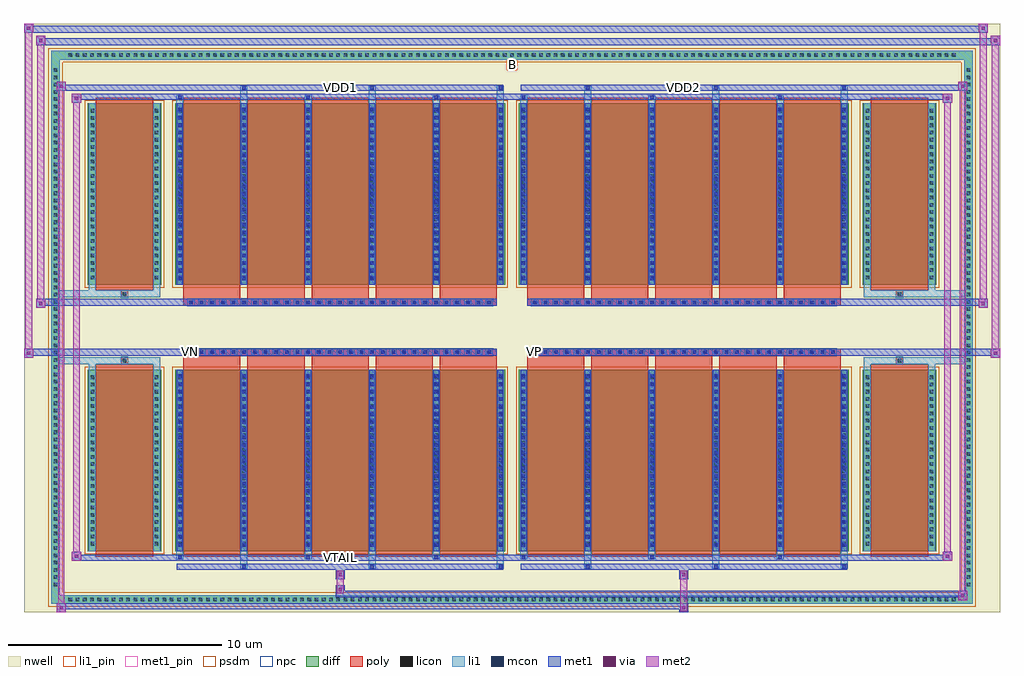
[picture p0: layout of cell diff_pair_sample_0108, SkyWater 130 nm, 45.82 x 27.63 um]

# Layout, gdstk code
import gdstk
lib = gdstk.Library(unit=1e-6, precision=5e-09)
def R(c, l, rs):  # rectangles x0, y0, x1, y1
    for r in rs: c.add(gdstk.rectangle(r[:2], r[2:], *l))
def A(c, l, x, y, w, h, nx, ny, dx, dy):  # array of equal rectangles
    R(c, l, [(x+i*dx, y+j*dy, x+i*dx+w, y+j*dy+h) for i in range(nx) for j in range(ny)])
def P(c, l, *ps):  # polygons
    for p in ps: c.add(gdstk.Polygon(p, *l))
nwell = (64, 20)
diff = (65, 20)
poly = (66, 20)
licon = (66, 44)
li1_pin = (67, 16)
li1 = (67, 20)
mcon = (67, 44)
met1_pin = (68, 16)
met1 = (68, 20)
via = (68, 44)
met2 = (69, 20)
psdm = (94, 20)
npc = (95, 20)

diff_pair_sample_0108 = lib.new_cell('diff_pair_sample_0108')
R(diff_pair_sample_0108, nwell, [(-22.91,-13.38,22.91,14.25), (-20.23,-11.57,-0.01,-0.805), (0.01,-11.57,20.23,-0.805), (-20.23,0.805,-0.01,11.57), (0.01,0.805,20.23,11.57)])
A(diff_pair_sample_0108, diff, -20.945, -12.98, 0.41, 0.41, 123, 2, 0.34, 25.55)
A(diff_pair_sample_0108, diff, -21.64, -12.275, 0.41, 0.41, 1, 72, 0, 0.34)
A(diff_pair_sample_0108, diff, 21.23, -12.275, 0.41, 0.41, 1, 72, 0, 0.34)
R(diff_pair_sample_0108, diff, [(-20.945,-12.98,20.945,-12.57), (-21.64,-12.275,-21.23,12.275), (21.23,-12.275,21.64,12.275), (-19.92,-10.525,-16.46,-1.985), (-15.82,-10.525,-0.32,-1.985), (0.32,-10.525,15.82,-1.985), (16.46,-10.525,19.92,-1.985), (-19.92,1.985,-16.46,10.525), (-15.82,1.985,-0.32,10.525), (0.32,1.985,15.82,10.525), (16.46,1.985,19.92,10.525), (-20.945,12.57,20.945,12.98)])
P(diff_pair_sample_0108, diff, [(21.64,12.98),(-21.64,12.98),(-21.64,-12.57),(-21.23,-12.57),(-21.23,12.57),(21.23,12.57),(21.23,-12.57),(-21.23,-12.57),(-21.64,-12.57),(-21.64,-12.98),(21.64,-12.98)])
A(diff_pair_sample_0108, poly, -15.43, -10.775, 2.68, 9.04, 5, 2, 3.01, 12.51)
A(diff_pair_sample_0108, poly, 0.71, -10.775, 2.68, 9.04, 5, 2, 3.01, 12.51)
A(diff_pair_sample_0108, poly, -15.43, -1.735, 2.68, 0.4, 5, 2, 3.01, 3.07)
A(diff_pair_sample_0108, poly, 0.71, -1.735, 2.68, 0.4, 5, 2, 3.01, 3.07)
A(diff_pair_sample_0108, poly, -15.235, -1.335, 0.33, 0.33, 29, 2, 0.5, 2.34)
A(diff_pair_sample_0108, poly, 0.905, -1.335, 0.33, 0.33, 29, 2, 0.5, 2.34)
R(diff_pair_sample_0108, poly, [(-19.53,-10.775,-16.85,-1.735), (16.85,-10.775,19.53,-1.735), (-18.355,-1.735,-18.025,-1.405), (-18.355,-1.735,-18.025,-1.405), (18.025,-1.735,18.355,-1.405), (18.025,-1.735,18.355,-1.405), (-15.43,-1.335,-0.71,-1.005), (0.71,-1.335,15.43,-1.005), (-15.43,1.005,-0.71,1.335), (0.71,1.005,15.43,1.335), (-18.355,1.405,-18.025,1.735), (-18.355,1.405,-18.025,1.735), (18.025,1.405,18.355,1.735), (18.025,1.405,18.355,1.735), (-19.53,1.735,-16.85,10.775), (16.85,1.735,19.53,10.775)])
A(diff_pair_sample_0108, licon, -20.825, -12.86, 0.17, 0.17, 123, 2, 0.34, 25.55)
A(diff_pair_sample_0108, licon, -21.52, -12.155, 0.17, 0.17, 1, 72, 0, 0.34)
A(diff_pair_sample_0108, licon, 21.35, -12.155, 0.17, 0.17, 1, 72, 0, 0.34)
A(diff_pair_sample_0108, licon, -19.78, -10.25, 0.17, 0.17, 1, 24, 0, 0.34)
A(diff_pair_sample_0108, licon, -16.77, -10.25, 0.17, 0.17, 1, 24, 0, 0.34)
A(diff_pair_sample_0108, licon, -15.68, -10.25, 0.17, 0.17, 6, 24, 3.01, 0.34)
A(diff_pair_sample_0108, licon, 0.46, -10.25, 0.17, 0.17, 6, 24, 3.01, 0.34)
A(diff_pair_sample_0108, licon, 16.6, -10.25, 0.17, 0.17, 1, 24, 0, 0.34)
A(diff_pair_sample_0108, licon, 19.61, -10.25, 0.17, 0.17, 1, 24, 0, 0.34)
A(diff_pair_sample_0108, licon, -15.155, -1.255, 0.17, 0.17, 29, 2, 0.5, 2.34)
A(diff_pair_sample_0108, licon, 0.985, -1.255, 0.17, 0.17, 29, 2, 0.5, 2.34)
A(diff_pair_sample_0108, licon, -19.78, 2.26, 0.17, 0.17, 1, 24, 0, 0.34)
A(diff_pair_sample_0108, licon, -16.77, 2.26, 0.17, 0.17, 1, 24, 0, 0.34)
A(diff_pair_sample_0108, licon, -15.68, 2.26, 0.17, 0.17, 6, 24, 3.01, 0.34)
A(diff_pair_sample_0108, licon, 0.46, 2.26, 0.17, 0.17, 6, 24, 3.01, 0.34)
A(diff_pair_sample_0108, licon, 16.6, 2.26, 0.17, 0.17, 1, 24, 0, 0.34)
A(diff_pair_sample_0108, licon, 19.61, 2.26, 0.17, 0.17, 1, 24, 0, 0.34)
R(diff_pair_sample_0108, licon, [(-18.275,-1.655,-18.105,-1.485), (18.105,-1.655,18.275,-1.485), (-18.275,1.485,-18.105,1.655), (18.105,1.485,18.275,1.655)])
R(diff_pair_sample_0108, li1_pin, [(-0.25,12.07,0.25,12.57)])
A(diff_pair_sample_0108, li1, -20.905, -12.94, 0.33, 0.33, 123, 2, 0.34, 25.55)
A(diff_pair_sample_0108, li1, -21.6, -12.235, 0.33, 0.33, 1, 72, 0, 0.34)
A(diff_pair_sample_0108, li1, 21.27, -12.235, 0.33, 0.33, 1, 72, 0, 0.34)
A(diff_pair_sample_0108, li1, -12.75, -11.33, 0.33, 0.805, 3, 2, 6.02, 21.855)
A(diff_pair_sample_0108, li1, -12.67, -11.33, 0.17, 0.17, 3, 2, 6.02, 22.49)
A(diff_pair_sample_0108, li1, 3.39, -11.33, 0.33, 0.805, 3, 2, 6.02, 21.855)
A(diff_pair_sample_0108, li1, 3.47, -11.33, 0.17, 0.17, 3, 2, 6.02, 22.49)
A(diff_pair_sample_0108, li1, -15.76, -10.9, 0.33, 0.375, 3, 2, 6.02, 21.425)
A(diff_pair_sample_0108, li1, -15.68, -10.9, 0.17, 0.17, 3, 2, 6.02, 21.63)
A(diff_pair_sample_0108, li1, 0.38, -10.9, 0.33, 0.375, 3, 2, 6.02, 21.425)
A(diff_pair_sample_0108, li1, 0.46, -10.9, 0.17, 0.17, 3, 2, 6.02, 21.63)
A(diff_pair_sample_0108, li1, -15.76, -10.525, 0.33, 8.54, 6, 2, 3.01, 12.51)
A(diff_pair_sample_0108, li1, 0.38, -10.525, 0.33, 8.54, 6, 2, 3.01, 12.51)
A(diff_pair_sample_0108, li1, -19.86, -10.33, 0.33, 0.33, 1, 24, 0, 0.34)
A(diff_pair_sample_0108, li1, -16.85, -10.33, 0.33, 0.33, 1, 24, 0, 0.34)
A(diff_pair_sample_0108, li1, -15.76, -10.33, 0.33, 0.33, 6, 24, 3.01, 0.34)
A(diff_pair_sample_0108, li1, 0.38, -10.33, 0.33, 0.33, 6, 24, 3.01, 0.34)
A(diff_pair_sample_0108, li1, 16.52, -10.33, 0.33, 0.33, 1, 24, 0, 0.34)
A(diff_pair_sample_0108, li1, 19.53, -10.33, 0.33, 0.33, 1, 24, 0, 0.34)
A(diff_pair_sample_0108, li1, -15.68, -10.3, 0.17, 0.17, 6, 23, 3.01, 0.36)
A(diff_pair_sample_0108, li1, -15.68, -10.3, 0.17, 8.09, 6, 2, 3.01, 12.51)
A(diff_pair_sample_0108, li1, 0.46, -10.3, 0.17, 0.17, 6, 23, 3.01, 0.36)
A(diff_pair_sample_0108, li1, 0.46, -10.3, 0.17, 8.09, 6, 2, 3.01, 12.51)
A(diff_pair_sample_0108, li1, -15.235, -1.335, 0.33, 0.33, 29, 2, 0.5, 2.34)
A(diff_pair_sample_0108, li1, 0.905, -1.335, 0.33, 0.33, 29, 2, 0.5, 2.34)
A(diff_pair_sample_0108, li1, -19.86, 2.18, 0.33, 0.33, 1, 24, 0, 0.34)
A(diff_pair_sample_0108, li1, -16.85, 2.18, 0.33, 0.33, 1, 24, 0, 0.34)
A(diff_pair_sample_0108, li1, -15.76, 2.18, 0.33, 0.33, 6, 24, 3.01, 0.34)
A(diff_pair_sample_0108, li1, 0.38, 2.18, 0.33, 0.33, 6, 24, 3.01, 0.34)
A(diff_pair_sample_0108, li1, 16.52, 2.18, 0.33, 0.33, 1, 24, 0, 0.34)
A(diff_pair_sample_0108, li1, 19.53, 2.18, 0.33, 0.33, 1, 24, 0, 0.34)
A(diff_pair_sample_0108, li1, -15.68, 2.21, 0.17, 0.17, 6, 23, 3.01, 0.36)
A(diff_pair_sample_0108, li1, 0.46, 2.21, 0.17, 0.17, 6, 23, 3.01, 0.36)
R(diff_pair_sample_0108, li1, [(-21.64,-12.98,-21.23,-12.57), (-21.64,-12.98,-21.23,-12.57), (-21.23,-12.98,21.23,-12.57), (21.23,-12.98,21.64,-12.57), (21.23,-12.98,21.64,-12.57), (-21.64,-12.57,-21.23,12.57), (21.23,-12.57,21.64,12.57), (-19.86,-10.525,-19.53,-1.985), (-16.85,-10.525,-16.52,-1.985), (16.52,-10.525,16.85,-1.985), (19.53,-10.525,19.86,-1.985), (-19.86,-1.985,-19.53,-1.405), (-16.85,-1.985,-16.52,-1.405), (16.52,-1.985,16.85,-1.405), (19.53,-1.985,19.86,-1.405), (-21.64,-1.735,-18.355,-1.405), (-19.86,-1.735,-18.355,-1.405), (-18.355,-1.735,-18.025,-1.405), (-18.025,-1.735,-16.52,-1.405), (16.52,-1.735,18.025,-1.405), (18.025,-1.735,18.355,-1.405), (18.025,-1.735,21.64,-1.405), (18.355,-1.735,19.86,-1.405), (-21.64,1.405,-18.355,1.735), (-19.86,1.405,-18.355,1.735), (-19.86,1.405,-19.53,1.985), (-18.355,1.405,-18.025,1.735), (-18.025,1.405,-16.52,1.735), (-16.85,1.405,-16.52,1.985), (16.52,1.405,18.025,1.735), (16.52,1.405,16.85,1.985), (18.025,1.405,18.355,1.735), (18.025,1.405,21.64,1.735), (18.355,1.405,19.86,1.735), (19.53,1.405,19.86,1.985), (-19.86,1.985,-19.53,10.525), (-16.85,1.985,-16.52,10.525), (16.52,1.985,16.85,10.525), (19.53,1.985,19.86,10.525), (-21.64,12.57,-21.23,12.98), (-21.64,12.57,-21.23,12.98), (-21.23,12.57,21.23,12.98), (21.23,12.57,21.64,12.98), (21.23,12.57,21.64,12.98)])
A(diff_pair_sample_0108, mcon, -12.67, -11.33, 0.17, 0.17, 3, 2, 6.02, 22.49)
A(diff_pair_sample_0108, mcon, 3.47, -11.33, 0.17, 0.17, 3, 2, 6.02, 22.49)
A(diff_pair_sample_0108, mcon, -15.68, -10.9, 0.17, 0.17, 3, 2, 6.02, 21.63)
A(diff_pair_sample_0108, mcon, 0.46, -10.9, 0.17, 0.17, 3, 2, 6.02, 21.63)
A(diff_pair_sample_0108, mcon, -15.68, -10.3, 0.17, 0.17, 6, 23, 3.01, 0.36)
A(diff_pair_sample_0108, mcon, 0.46, -10.3, 0.17, 0.17, 6, 23, 3.01, 0.36)
A(diff_pair_sample_0108, mcon, -15.155, -1.255, 0.17, 0.17, 29, 2, 0.5, 2.34)
A(diff_pair_sample_0108, mcon, 0.985, -1.255, 0.17, 0.17, 29, 2, 0.5, 2.34)
A(diff_pair_sample_0108, mcon, -15.68, 2.21, 0.17, 0.17, 6, 23, 3.01, 0.36)
A(diff_pair_sample_0108, mcon, 0.46, 2.21, 0.17, 0.17, 6, 23, 3.01, 0.36)
R(diff_pair_sample_0108, met1_pin, [(-8.205,-10.94,-7.935,-10.67), (-15.205,-1.295,-14.935,-1.025), (0.935,-1.295,1.205,-1.025), (-8.205,11.12,-7.935,11.39), (7.935,11.12,8.205,11.39)])
A(diff_pair_sample_0108, met1, -12.73, -11.39, 0.29, 0.29, 3, 2, 6.02, 22.49)
A(diff_pair_sample_0108, met1, 3.41, -11.39, 0.29, 0.29, 3, 2, 6.02, 22.49)
A(diff_pair_sample_0108, met1, -15.74, -10.96, 0.29, 0.29, 3, 2, 6.02, 21.63)
A(diff_pair_sample_0108, met1, 0.4, -10.96, 0.29, 0.29, 3, 2, 6.02, 21.63)
A(diff_pair_sample_0108, met1, -15.74, -10.525, 0.29, 8.54, 6, 2, 3.01, 12.51)
A(diff_pair_sample_0108, met1, 0.4, -10.525, 0.29, 8.54, 6, 2, 3.01, 12.51)
A(diff_pair_sample_0108, met1, -15.74, -10.36, 0.29, 0.29, 6, 23, 3.01, 0.36)
A(diff_pair_sample_0108, met1, 0.4, -10.36, 0.29, 0.29, 6, 23, 3.01, 0.36)
A(diff_pair_sample_0108, met1, -15.215, -1.315, 0.29, 0.29, 29, 2, 0.5, 2.34)
A(diff_pair_sample_0108, met1, 0.925, -1.315, 0.29, 0.29, 29, 2, 0.5, 2.34)
A(diff_pair_sample_0108, met1, -15.74, 2.15, 0.29, 0.29, 6, 23, 3.01, 0.36)
A(diff_pair_sample_0108, met1, 0.4, 2.15, 0.29, 0.29, 6, 23, 3.01, 0.36)
R(diff_pair_sample_0108, met1, [(-21.37,-13.38,-20.94,-12.95), (7.855,-13.38,8.285,-12.95), (-21.37,-13.24,8.285,-12.95), (20.94,-12.81,21.37,-12.38), (-8.285,-12.67,21.37,-12.38), (-8.285,-12.53,-7.855,-12.1), (-8.285,-11.82,-7.855,-11.39), (7.855,-11.82,8.285,-11.39), (-15.74,-11.39,-0.4,-11.1), (0.4,-11.39,15.74,-11.1), (-20.66,-10.96,-20.23,-10.53), (-20.66,-10.96,-15.74,-10.67), (-15.74,-10.96,-0.4,-10.67), (-0.4,-10.96,0.4,-10.67), (0.4,-10.96,15.74,-10.67), (15.74,-10.96,20.66,-10.67), (20.23,-10.96,20.66,-10.53), (-22.91,-1.435,-22.48,-1.005), (22.48,-1.435,22.91,-1.005), (-22.91,-1.335,-0.71,-1.005), (-15.43,-1.335,-0.71,-1.005), (0.71,-1.335,15.43,-1.005), (0.71,-1.335,22.91,-1.005), (-22.34,0.905,-21.91,1.335), (21.91,0.905,22.34,1.335), (-22.34,1.005,-15.43,1.335), (-15.43,1.005,-0.71,1.335), (0.71,1.005,15.43,1.335), (15.43,1.005,22.34,1.335), (-20.66,10.53,-20.23,10.96), (20.23,10.53,20.66,10.96), (-20.66,10.67,-15.74,10.96), (-15.74,10.67,-0.4,10.96), (-0.4,10.67,0.4,10.96), (0.4,10.67,15.74,10.96), (15.74,10.67,20.66,10.96), (-21.37,11.1,-20.94,11.53), (-21.37,11.1,-15.74,11.39), (-15.74,11.1,-0.4,11.39), (0.4,11.1,15.74,11.39), (15.74,11.1,21.37,11.39), (20.94,11.1,21.37,11.53), (-22.34,13.25,-21.91,13.68), (-22.34,13.25,-20.23,13.58), (-20.23,13.25,20.23,13.58), (20.23,13.25,22.91,13.58), (22.48,13.25,22.91,13.68), (-22.91,13.82,-22.48,14.25), (-22.91,13.82,-20.23,14.15), (-20.23,13.82,20.23,14.15), (20.23,13.82,22.34,14.15), (21.91,13.82,22.34,14.25)])
R(diff_pair_sample_0108, via, [(-21.23,-13.24,-21.08,-13.09), (7.995,-13.24,8.145,-13.09), (21.08,-12.67,21.23,-12.52), (-8.145,-12.39,-7.995,-12.24), (-8.145,-11.68,-7.995,-11.53), (7.995,-11.68,8.145,-11.53), (-20.52,-10.82,-20.37,-10.67), (20.37,-10.82,20.52,-10.67), (-22.77,-1.295,-22.62,-1.145), (22.62,-1.295,22.77,-1.145), (-22.2,1.045,-22.05,1.195), (22.05,1.045,22.2,1.195), (-20.52,10.67,-20.37,10.82), (20.37,10.67,20.52,10.82), (-21.23,11.24,-21.08,11.39), (21.08,11.24,21.23,11.39), (-22.2,13.39,-22.05,13.54), (22.62,13.39,22.77,13.54), (-22.77,13.96,-22.62,14.11), (22.05,13.96,22.2,14.11)])
R(diff_pair_sample_0108, met2, [(-21.37,-13.38,-20.94,-12.95), (-21.3,-13.38,-21.01,11.53), (-21.01,-13.38,-20.94,-12.95), (-21.32,-13.33,-20.99,-13), (7.905,-13.33,8.235,-13), (7.905,-13,8.235,-11.77), (20.94,-12.81,21.37,-12.38), (21.01,-12.81,21.3,11.53), (21.3,-12.81,21.37,-12.38), (20.99,-12.76,21.32,-12.43), (-8.235,-12.48,-7.905,-12.15), (-8.235,-12.15,-7.905,-11.77), (-8.235,-11.77,-7.905,-11.44), (7.905,-11.77,8.235,-11.44), (-20.66,-10.96,-20.23,-10.53), (-20.59,-10.96,-20.3,10.96), (-20.3,-10.96,-20.23,-10.53), (20.23,-10.96,20.66,-10.53), (20.3,-10.96,20.59,10.96), (20.59,-10.96,20.66,-10.53), (-20.61,-10.91,-20.28,-10.58), (20.28,-10.91,20.61,-10.58), (-22.91,-1.435,-22.48,-1.005), (-22.86,-1.435,-22.53,14.25), (-22.53,-1.435,-22.48,-1.005), (22.48,-1.435,22.91,-1.005), (22.53,-1.435,22.86,13.68), (22.86,-1.435,22.91,-1.005), (-22.86,-1.385,-22.53,-1.055), (22.53,-1.385,22.86,-1.055), (-22.34,0.905,-21.91,1.335), (-22.29,0.905,-21.96,13.68), (-21.96,0.905,-21.91,1.335), (21.91,0.905,22.34,1.335), (21.96,0.905,22.29,14.25), (22.29,0.905,22.34,1.335), (-22.29,0.955,-21.96,1.285), (21.96,0.955,22.29,1.285), (-20.66,10.53,-20.23,10.96), (-20.3,10.53,-20.23,10.96), (20.23,10.53,20.66,10.96), (20.59,10.53,20.66,10.96), (-20.61,10.58,-20.28,10.91), (20.28,10.58,20.61,10.91), (-21.37,11.1,-20.94,11.53), (-21.01,11.1,-20.94,11.53), (20.94,11.1,21.37,11.53), (21.3,11.1,21.37,11.53), (-21.32,11.15,-20.99,11.48), (20.99,11.15,21.32,11.48), (-22.34,13.25,-21.91,13.68), (-21.96,13.25,-21.91,13.68), (22.48,13.25,22.91,13.68), (22.86,13.25,22.91,13.68), (-22.29,13.3,-21.96,13.63), (22.53,13.3,22.86,13.63), (-22.91,13.82,-22.48,14.25), (-22.53,13.82,-22.48,14.25), (21.91,13.82,22.34,14.25), (22.29,13.82,22.34,14.25), (-22.86,13.87,-22.53,14.2), (21.96,13.87,22.29,14.2)])
R(diff_pair_sample_0108, psdm, [(-20.05,-10.655,-16.33,-1.855), (-15.95,-10.655,-0.19,-1.855), (0.19,-10.655,15.95,-1.855), (16.33,-10.655,20.05,-1.855), (-20.05,1.855,-16.33,10.655), (-15.95,1.855,-0.19,10.655), (0.19,1.855,15.95,10.655), (16.33,1.855,20.05,10.655)])
P(diff_pair_sample_0108, psdm, [(21.77,13.11),(-21.77,13.11),(-21.77,-12.44),(-21.1,-12.44),(-21.1,12.44),(21.1,12.44),(21.1,-12.44),(-21.1,-12.44),(-21.77,-12.44),(-21.77,-13.11),(21.77,-13.11)])
A(diff_pair_sample_0108, npc, -15.255, -1.355, 0.37, 0.37, 29, 2, 0.5, 2.34)
A(diff_pair_sample_0108, npc, 0.885, -1.355, 0.37, 0.37, 29, 2, 0.5, 2.34)
R(diff_pair_sample_0108, npc, [(-18.375,-1.755,-18.005,-1.385), (18.005,-1.755,18.375,-1.385), (-15.255,-1.355,-14.385,-0.985), (-15.255,-1.355,-14.385,-0.985), (-14.755,-1.355,-13.885,-0.985), (-14.755,-1.355,-13.885,-0.985), (-14.255,-1.355,-13.385,-0.985), (-14.255,-1.355,-13.385,-0.985), (-13.755,-1.355,-12.885,-0.985), (-13.755,-1.355,-12.885,-0.985), (-13.255,-1.355,-12.385,-0.985), (-13.255,-1.355,-12.385,-0.985), (-12.755,-1.355,-11.885,-0.985), (-12.755,-1.355,-11.885,-0.985), (-12.255,-1.355,-11.385,-0.985), (-12.255,-1.355,-11.385,-0.985), (-11.755,-1.355,-10.885,-0.985), (-11.755,-1.355,-10.885,-0.985), (-11.255,-1.355,-10.385,-0.985), (-11.255,-1.355,-10.385,-0.985), (-10.755,-1.355,-9.885,-0.985), (-10.755,-1.355,-9.885,-0.985), (-10.255,-1.355,-9.385,-0.985), (-10.255,-1.355,-9.385,-0.985), (-9.755,-1.355,-8.885,-0.985), (-9.755,-1.355,-8.885,-0.985), (-9.255,-1.355,-8.385,-0.985), (-9.255,-1.355,-8.385,-0.985), (-8.755,-1.355,-7.885,-0.985), (-8.755,-1.355,-7.885,-0.985), (-8.255,-1.355,-7.385,-0.985), (-8.255,-1.355,-7.385,-0.985), (-7.755,-1.355,-6.885,-0.985), (-7.755,-1.355,-6.885,-0.985), (-7.255,-1.355,-6.385,-0.985), (-7.255,-1.355,-6.385,-0.985), (-6.755,-1.355,-5.885,-0.985), (-6.755,-1.355,-5.885,-0.985), (-6.255,-1.355,-5.385,-0.985), (-6.255,-1.355,-5.385,-0.985), (-5.755,-1.355,-4.885,-0.985), (-5.755,-1.355,-4.885,-0.985), (-5.255,-1.355,-4.385,-0.985), (-5.255,-1.355,-4.385,-0.985), (-4.755,-1.355,-3.885,-0.985), (-4.755,-1.355,-3.885,-0.985), (-4.255,-1.355,-3.385,-0.985), (-4.255,-1.355,-3.385,-0.985), (-3.755,-1.355,-2.885,-0.985), (-3.755,-1.355,-2.885,-0.985), (-3.255,-1.355,-2.385,-0.985), (-3.255,-1.355,-2.385,-0.985), (-2.755,-1.355,-1.885,-0.985), (-2.755,-1.355,-1.885,-0.985), (-2.255,-1.355,-1.385,-0.985), (-2.255,-1.355,-1.385,-0.985), (-1.755,-1.355,-0.885,-0.985), (-1.755,-1.355,-0.885,-0.985), (0.885,-1.355,1.755,-0.985), (0.885,-1.355,1.755,-0.985), (1.385,-1.355,2.255,-0.985), (1.385,-1.355,2.255,-0.985), (1.885,-1.355,2.755,-0.985), (1.885,-1.355,2.755,-0.985), (2.385,-1.355,3.255,-0.985), (2.385,-1.355,3.255,-0.985), (2.885,-1.355,3.755,-0.985), (2.885,-1.355,3.755,-0.985), (3.385,-1.355,4.255,-0.985), (3.385,-1.355,4.255,-0.985), (3.885,-1.355,4.755,-0.985), (3.885,-1.355,4.755,-0.985), (4.385,-1.355,5.255,-0.985), (4.385,-1.355,5.255,-0.985), (4.885,-1.355,5.755,-0.985), (4.885,-1.355,5.755,-0.985), (5.385,-1.355,6.255,-0.985), (5.385,-1.355,6.255,-0.985), (5.885,-1.355,6.755,-0.985), (5.885,-1.355,6.755,-0.985), (6.385,-1.355,7.255,-0.985), (6.385,-1.355,7.255,-0.985), (6.885,-1.355,7.755,-0.985), (6.885,-1.355,7.755,-0.985), (7.385,-1.355,8.255,-0.985), (7.385,-1.355,8.255,-0.985), (7.885,-1.355,8.755,-0.985), (7.885,-1.355,8.755,-0.985), (8.385,-1.355,9.255,-0.985), (8.385,-1.355,9.255,-0.985), (8.885,-1.355,9.755,-0.985), (8.885,-1.355,9.755,-0.985), (9.385,-1.355,10.255,-0.985), (9.385,-1.355,10.255,-0.985), (9.885,-1.355,10.755,-0.985), (9.885,-1.355,10.755,-0.985), (10.385,-1.355,11.255,-0.985), (10.385,-1.355,11.255,-0.985), (10.885,-1.355,11.755,-0.985), (10.885,-1.355,11.755,-0.985), (11.385,-1.355,12.255,-0.985), (11.385,-1.355,12.255,-0.985), (11.885,-1.355,12.755,-0.985), (11.885,-1.355,12.755,-0.985), (12.385,-1.355,13.255,-0.985), (12.385,-1.355,13.255,-0.985), (12.885,-1.355,13.755,-0.985), (12.885,-1.355,13.755,-0.985), (13.385,-1.355,14.255,-0.985), (13.385,-1.355,14.255,-0.985), (13.885,-1.355,14.755,-0.985), (13.885,-1.355,14.755,-0.985), (14.385,-1.355,15.255,-0.985), (14.385,-1.355,15.255,-0.985), (-15.255,0.985,-14.385,1.355), (-15.255,0.985,-14.385,1.355), (-14.755,0.985,-13.885,1.355), (-14.755,0.985,-13.885,1.355), (-14.255,0.985,-13.385,1.355), (-14.255,0.985,-13.385,1.355), (-13.755,0.985,-12.885,1.355), (-13.755,0.985,-12.885,1.355), (-13.255,0.985,-12.385,1.355), (-13.255,0.985,-12.385,1.355), (-12.755,0.985,-11.885,1.355), (-12.755,0.985,-11.885,1.355), (-12.255,0.985,-11.385,1.355), (-12.255,0.985,-11.385,1.355), (-11.755,0.985,-10.885,1.355), (-11.755,0.985,-10.885,1.355), (-11.255,0.985,-10.385,1.355), (-11.255,0.985,-10.385,1.355), (-10.755,0.985,-9.885,1.355), (-10.755,0.985,-9.885,1.355), (-10.255,0.985,-9.385,1.355), (-10.255,0.985,-9.385,1.355), (-9.755,0.985,-8.885,1.355), (-9.755,0.985,-8.885,1.355), (-9.255,0.985,-8.385,1.355), (-9.255,0.985,-8.385,1.355), (-8.755,0.985,-7.885,1.355), (-8.755,0.985,-7.885,1.355), (-8.255,0.985,-7.385,1.355), (-8.255,0.985,-7.385,1.355), (-7.755,0.985,-6.885,1.355), (-7.755,0.985,-6.885,1.355), (-7.255,0.985,-6.385,1.355), (-7.255,0.985,-6.385,1.355), (-6.755,0.985,-5.885,1.355), (-6.755,0.985,-5.885,1.355), (-6.255,0.985,-5.385,1.355), (-6.255,0.985,-5.385,1.355), (-5.755,0.985,-4.885,1.355), (-5.755,0.985,-4.885,1.355), (-5.255,0.985,-4.385,1.355), (-5.255,0.985,-4.385,1.355), (-4.755,0.985,-3.885,1.355), (-4.755,0.985,-3.885,1.355), (-4.255,0.985,-3.385,1.355), (-4.255,0.985,-3.385,1.355), (-3.755,0.985,-2.885,1.355), (-3.755,0.985,-2.885,1.355), (-3.255,0.985,-2.385,1.355), (-3.255,0.985,-2.385,1.355), (-2.755,0.985,-1.885,1.355), (-2.755,0.985,-1.885,1.355), (-2.255,0.985,-1.385,1.355), (-2.255,0.985,-1.385,1.355), (-1.755,0.985,-0.885,1.355), (-1.755,0.985,-0.885,1.355), (0.885,0.985,1.755,1.355), (0.885,0.985,1.755,1.355), (1.385,0.985,2.255,1.355), (1.385,0.985,2.255,1.355), (1.885,0.985,2.755,1.355), (1.885,0.985,2.755,1.355), (2.385,0.985,3.255,1.355), (2.385,0.985,3.255,1.355), (2.885,0.985,3.755,1.355), (2.885,0.985,3.755,1.355), (3.385,0.985,4.255,1.355), (3.385,0.985,4.255,1.355), (3.885,0.985,4.755,1.355), (3.885,0.985,4.755,1.355), (4.385,0.985,5.255,1.355), (4.385,0.985,5.255,1.355), (4.885,0.985,5.755,1.355), (4.885,0.985,5.755,1.355), (5.385,0.985,6.255,1.355), (5.385,0.985,6.255,1.355), (5.885,0.985,6.755,1.355), (5.885,0.985,6.755,1.355), (6.385,0.985,7.255,1.355), (6.385,0.985,7.255,1.355), (6.885,0.985,7.755,1.355), (6.885,0.985,7.755,1.355), (7.385,0.985,8.255,1.355), (7.385,0.985,8.255,1.355), (7.885,0.985,8.755,1.355), (7.885,0.985,8.755,1.355), (8.385,0.985,9.255,1.355), (8.385,0.985,9.255,1.355), (8.885,0.985,9.755,1.355), (8.885,0.985,9.755,1.355), (9.385,0.985,10.255,1.355), (9.385,0.985,10.255,1.355), (9.885,0.985,10.755,1.355), (9.885,0.985,10.755,1.355), (10.385,0.985,11.255,1.355), (10.385,0.985,11.255,1.355), (10.885,0.985,11.755,1.355), (10.885,0.985,11.755,1.355), (11.385,0.985,12.255,1.355), (11.385,0.985,12.255,1.355), (11.885,0.985,12.755,1.355), (11.885,0.985,12.755,1.355), (12.385,0.985,13.255,1.355), (12.385,0.985,13.255,1.355), (12.885,0.985,13.755,1.355), (12.885,0.985,13.755,1.355), (13.385,0.985,14.255,1.355), (13.385,0.985,14.255,1.355), (13.885,0.985,14.755,1.355), (13.885,0.985,14.755,1.355), (14.385,0.985,15.255,1.355), (14.385,0.985,15.255,1.355), (-18.375,1.385,-18.005,1.755), (18.005,1.385,18.375,1.755)])
diff_pair_sample_0108.add(gdstk.Label('VTAIL', (-8.07,-10.805), layer=68, texttype=5))
diff_pair_sample_0108.add(gdstk.Label('VN', (-15.07,-1.16), layer=68, texttype=5))
diff_pair_sample_0108.add(gdstk.Label('VP', (1.07,-1.16), layer=68, texttype=5))
diff_pair_sample_0108.add(gdstk.Label('B', (0,12.32), layer=67, texttype=5))
diff_pair_sample_0108.add(gdstk.Label('VDD2', (8.07,11.255), layer=68, texttype=5))
diff_pair_sample_0108.add(gdstk.Label('VDD1', (-8.07,11.255), layer=68, texttype=5))

lib.write_gds('diff_pair_sample_0108.gds')
